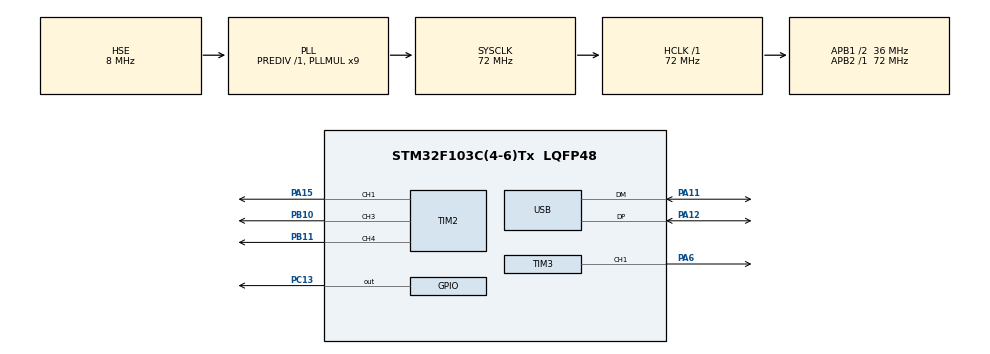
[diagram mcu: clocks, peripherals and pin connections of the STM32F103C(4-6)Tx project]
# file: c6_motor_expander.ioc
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Mcu.Family=STM32F1
Mcu.Name=STM32F103C(4-6)Tx
Mcu.Package=LQFP48
NVIC.PriorityGroup=NVIC_PRIORITYGROUP_4
NVIC.USB_LP_CAN1_RX0_IRQn=true\:0\:0\:false\:false\:true\:false\:true\:true
PA11.Mode=Device
PA11.Signal=USB_DM
PA12.Mode=Device
PA12.Signal=USB_DP
PA15.Signal=S_TIM2_CH1_ETR
PA6.Signal=S_TIM3_CH1
PB10.Signal=S_TIM2_CH3
PB11.Signal=S_TIM2_CH4
PC13-TAMPER-RTC.Signal=GPIO_Output
PC14-OSC32_IN.Mode=LSE-External-Oscillator
PC14-OSC32_IN.Signal=RCC_OSC32_IN
PC15-OSC32_OUT.Mode=LSE-External-Oscillator
PC15-OSC32_OUT.Signal=RCC_OSC32_OUT
PD0-OSC_IN.Mode=HSE-External-Oscillator
PD0-OSC_IN.Signal=RCC_OSC_IN
PD1-OSC_OUT.Mode=HSE-External-Oscillator
PD1-OSC_OUT.Signal=RCC_OSC_OUT
ProjectManager.HeapSize=0x200
ProjectManager.StackSize=0x400
ProjectManager.TargetToolchain=Makefile
RCC.AHBFreq_Value=72000000
RCC.APB1CLKDivider=RCC_HCLK_DIV2
RCC.APB1Freq_Value=36000000
RCC.APB1TimFreq_Value=72000000
RCC.APB2Freq_Value=72000000
RCC.APB2TimFreq_Value=72000000
RCC.HCLKFreq_Value=72000000
RCC.PLLMUL=RCC_PLL_MUL9
RCC.PLLSourceVirtual=RCC_PLLSOURCE_HSE
RCC.SYSCLKFreq_VALUE=72000000
RCC.SYSCLKSource=RCC_SYSCLKSOURCE_PLLCLK
RCC.USBFreq_Value=48000000
RCC.USBPrescaler=RCC_USBCLKSOURCE_PLL_DIV1_5
SH.S_TIM2_CH1_ETR.0=TIM2_CH1,PWM Generation1 CH1
SH.S_TIM2_CH3.0=TIM2_CH3,PWM Generation3 CH3
SH.S_TIM2_CH4.0=TIM2_CH4,PWM Generation4 CH4
SH.S_TIM3_CH1.0=TIM3_CH1,PWM Generation1 CH1
TIM2.AutoReloadPreload=TIM_AUTORELOAD_PRELOAD_ENABLE
TIM2.Channel-PWM\ Generation1\ CH1=TIM_CHANNEL_1
TIM2.Channel-PWM\ Generation3\ CH3=TIM_CHANNEL_3
TIM2.Channel-PWM\ Generation4\ CH4=TIM_CHANNEL_4
TIM3.AutoReloadPreload=TIM_AUTORELOAD_PRELOAD_ENABLE
TIM3.Channel-PWM\ Generation1\ CH1=TIM_CHANNEL_1
USB_DEVICE.CLASS_NAME_FS=CDC
USB_DEVICE.VirtualMode=Cdc
USB_DEVICE.VirtualModeFS=Cdc_FS
VP_SYS_VS_ND.Mode=No_Debug
VP_TIM2_VS_ClockSourceINT.Mode=Internal
VP_TIM3_VS_ClockSourceINT.Mode=Internal
VP_USB_DEVICE_VS_USB_DEVICE_CDC_FS.Mode=CDC_FS
board=custom

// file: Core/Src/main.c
/* USER CODE BEGIN Header */
/**
  ******************************************************************************
  * @file           : main.c
  * @brief          : Main program body
  ******************************************************************************
  * @attention
  *
  * Copyright (c) 2024 STMicroelectronics.
  * All rights reserved.
  *
  * This software is licensed under terms that can be found in the LICENSE file
  * in the root directory of this software component.
  * If no LICENSE file comes with this software, it is provided AS-IS.
  *
  ******************************************************************************
  */
/* USER CODE END Header */
#include "main.h"
#include "usb_device.h"

/* USER CODE BEGIN Includes */
#include "usbd_cdc_if.h"

#include "motor_action.h"
#include "remote.h"
#include <string.h>

/* USER CODE END Includes */

TIM_HandleTypeDef htim2;
TIM_HandleTypeDef htim3;

/* USER CODE BEGIN PV */

struct motor_action_t motor;
static struct UART_Descr uart;
static char msg[150] = {'\0'};

/* USER CODE END PV */

void SystemClock_Config(void);
static void MX_GPIO_Init(void);
static void MX_TIM2_Init(void);
static void MX_TIM3_Init(void);

/* USER CODE BEGIN 0 */
static void cmd_to_motor(enum motor_side_t side, uint16_t torque, uint8_t action)
{
  enum motor_state_t maction;
  switch (action)
  {
    case 0:
    maction = FORWARD;
    break;

    case 1:
    maction = BACKWARD;
    break;

    case 2:
    maction = IDLE;
    break;

    default:
    maction = BRAKE;
    break;
  }
  apply_action_to_motor(&motor, side, maction, torque);
}

static void usb_command_received(uint8_t cmd, const void *buf, size_t sz)
{
  switch (cmd)
  {
  case CMD_MOTOR_PWM:
  {
    const size_t u16sz = sizeof(uint16_t);
    const size_t u8sz = sizeof(uint8_t);
    if (sz >= 2 * (u16sz + u8sz))
    {
      uint16_t m0;
      uint8_t m0cmd;
      uint16_t m1;
      uint8_t m1cmd;
      size_t ptr = 0;
      memcpy(&m0, buf + ptr, u16sz);
      ptr += u16sz;
      memcpy(&m0cmd, buf + ptr, u8sz);
      ptr += u8sz;
      memcpy(&m1, buf + ptr, u16sz);
      ptr += u16sz;
      memcpy(&m1cmd, buf + ptr, u8sz);
      strcpy(msg, "ok");
      CDC_Transmit_FS((uint8_t *)msg, strlen(msg));

      cmd_to_motor(MLEFT, m0, m0cmd);
      cmd_to_motor(MRIGHT, m1, m1cmd);
    }
    else
    {
      snprintf(msg, sizeof(msg), "wrong size: %ld\r", (long)sz);
      CDC_Transmit_FS((uint8_t *)msg, strlen(msg));
    }
  }
  break;
  }
}

void ext_receive_usb(uint8_t *buf, uint32_t len)
{
  uart_over_usb_data_received_handler(&uart, buf, len);
}

static void send_data_over_UART(uint32_t data)
{
  if (data <= CUSTOM_PING)
  {
    uint16_t tor;
    if (data == CUSTOM_PING) {
      tor = 65535 - 100;
    } else {
      tor = 0;
    }
    cmd_to_motor(MLEFT, tor, tor > 0 ? 0 : 2);
    cmd_to_motor(MRIGHT, tor, tor > 0 ? 0 : 2);
    HAL_GPIO_TogglePin(GPIOC, GPIO_PIN_13);
    snprintf(msg, sizeof(msg), "%ld\r", (long)data);
    CDC_Transmit_FS((uint8_t *)msg, sizeof(msg));
  }
  else
  {
    snprintf(msg, sizeof(msg),"unknown sub-command %ld\r", (long)data);
    CDC_Transmit_FS((uint8_t *)msg, sizeof(msg));
  }
}

/* USER CODE END 0 */

int main(void)
{

  /* MCU Configuration--------------------------------------------------------*/

  /* Reset of all peripherals, Initializes the Flash interface and the Systick. */
  HAL_Init();

  /* Configure the system clock */
  SystemClock_Config();

  /* Initialize all configured peripherals */
  MX_GPIO_Init();
  MX_TIM2_Init();
  MX_TIM3_Init();
  MX_USB_DEVICE_Init();
  /* USER CODE BEGIN 2 */

  HAL_TIM_PWM_Start(&htim2, TIM_CHANNEL_1);
  HAL_TIM_PWM_Start(&htim2, TIM_CHANNEL_3);
  HAL_TIM_PWM_Start(&htim2, TIM_CHANNEL_4);
  HAL_TIM_PWM_Start(&htim3, TIM_CHANNEL_1);

  // initialize two motors
  init_motor_action(&motor,
                    &(TIM2->CCR3),
                    &(TIM2->CCR4),
                    &(TIM2->CCR1),
                    &(TIM3->CCR1));

  // for UART over USB we do not have any huart pointer or use any buffer
  init_communication_uart(&uart, NULL, 0);
  install_custom_callback(&uart, &send_data_over_UART);
  uart.void_cmd_p_ptr = &usb_command_received;

  /* USER CODE END 2 */

  /* Infinite loop */
  while (1)
  {

  }
}

void SystemClock_Config(void)
{
  RCC_OscInitTypeDef RCC_OscInitStruct = {0};
  RCC_ClkInitTypeDef RCC_ClkInitStruct = {0};
  RCC_PeriphCLKInitTypeDef PeriphClkInit = {0};

  /** Initializes the RCC Oscillators according to the specified parameters
  * in the RCC_OscInitTypeDef structure.
  */
  RCC_OscInitStruct.OscillatorType = RCC_OSCILLATORTYPE_HSE;
  RCC_OscInitStruct.HSEState = RCC_HSE_ON;
  RCC_OscInitStruct.HSEPredivValue = RCC_HSE_PREDIV_DIV1;
  RCC_OscInitStruct.HSIState = RCC_HSI_ON;
  RCC_OscInitStruct.PLL.PLLState = RCC_PLL_ON;
  RCC_OscInitStruct.PLL.PLLSource = RCC_PLLSOURCE_HSE;
  RCC_OscInitStruct.PLL.PLLMUL = RCC_PLL_MUL9;
  if (HAL_RCC_OscConfig(&RCC_OscInitStruct) != HAL_OK)
  {
    Error_Handler();
  }

  /** Initializes the CPU, AHB and APB buses clocks
  */
  RCC_ClkInitStruct.ClockType = RCC_CLOCKTYPE_HCLK|RCC_CLOCKTYPE_SYSCLK
                              |RCC_CLOCKTYPE_PCLK1|RCC_CLOCKTYPE_PCLK2;
  RCC_ClkInitStruct.SYSCLKSource = RCC_SYSCLKSOURCE_PLLCLK;
  RCC_ClkInitStruct.AHBCLKDivider = RCC_SYSCLK_DIV1;
  RCC_ClkInitStruct.APB1CLKDivider = RCC_HCLK_DIV2;
  RCC_ClkInitStruct.APB2CLKDivider = RCC_HCLK_DIV1;

  if (HAL_RCC_ClockConfig(&RCC_ClkInitStruct, FLASH_LATENCY_2) != HAL_OK)
  {
    Error_Handler();
  }
  PeriphClkInit.PeriphClockSelection = RCC_PERIPHCLK_USB;
  PeriphClkInit.UsbClockSelection = RCC_USBCLKSOURCE_PLL_DIV1_5;
  if (HAL_RCCEx_PeriphCLKConfig(&PeriphClkInit) != HAL_OK)
  {
    Error_Handler();
  }
}

static void MX_TIM2_Init(void)
{

  TIM_ClockConfigTypeDef sClockSourceConfig = {0};
  TIM_MasterConfigTypeDef sMasterConfig = {0};
  TIM_OC_InitTypeDef sConfigOC = {0};

  htim2.Instance = TIM2;
  htim2.Init.Prescaler = 0;
  htim2.Init.CounterMode = TIM_COUNTERMODE_UP;
  htim2.Init.Period = 65535;
  htim2.Init.ClockDivision = TIM_CLOCKDIVISION_DIV1;
  htim2.Init.AutoReloadPreload = TIM_AUTORELOAD_PRELOAD_ENABLE;
  if (HAL_TIM_Base_Init(&htim2) != HAL_OK)
  {
    Error_Handler();
  }
  sClockSourceConfig.ClockSource = TIM_CLOCKSOURCE_INTERNAL;
  if (HAL_TIM_ConfigClockSource(&htim2, &sClockSourceConfig) != HAL_OK)
  {
    Error_Handler();
  }
  if (HAL_TIM_PWM_Init(&htim2) != HAL_OK)
  {
    Error_Handler();
  }
  sMasterConfig.MasterOutputTrigger = TIM_TRGO_RESET;
  sMasterConfig.MasterSlaveMode = TIM_MASTERSLAVEMODE_DISABLE;
  if (HAL_TIMEx_MasterConfigSynchronization(&htim2, &sMasterConfig) != HAL_OK)
  {
    Error_Handler();
  }
  sConfigOC.OCMode = TIM_OCMODE_PWM1;
  sConfigOC.Pulse = 0;
  sConfigOC.OCPolarity = TIM_OCPOLARITY_HIGH;
  sConfigOC.OCFastMode = TIM_OCFAST_DISABLE;
  if (HAL_TIM_PWM_ConfigChannel(&htim2, &sConfigOC, TIM_CHANNEL_1) != HAL_OK)
  {
    Error_Handler();
  }
  if (HAL_TIM_PWM_ConfigChannel(&htim2, &sConfigOC, TIM_CHANNEL_3) != HAL_OK)
  {
    Error_Handler();
  }
  if (HAL_TIM_PWM_ConfigChannel(&htim2, &sConfigOC, TIM_CHANNEL_4) != HAL_OK)
  {
    Error_Handler();
  }
  HAL_TIM_MspPostInit(&htim2);

}

static void MX_TIM3_Init(void)
{

  TIM_ClockConfigTypeDef sClockSourceConfig = {0};
  TIM_MasterConfigTypeDef sMasterConfig = {0};
  TIM_OC_InitTypeDef sConfigOC = {0};

  htim3.Instance = TIM3;
  htim3.Init.Prescaler = 0;
  htim3.Init.CounterMode = TIM_COUNTERMODE_UP;
  htim3.Init.Period = 65535;
  htim3.Init.ClockDivision = TIM_CLOCKDIVISION_DIV1;
  htim3.Init.AutoReloadPreload = TIM_AUTORELOAD_PRELOAD_ENABLE;
  if (HAL_TIM_Base_Init(&htim3) != HAL_OK)
  {
    Error_Handler();
  }
  sClockSourceConfig.ClockSource = TIM_CLOCKSOURCE_INTERNAL;
  if (HAL_TIM_ConfigClockSource(&htim3, &sClockSourceConfig) != HAL_OK)
  {
    Error_Handler();
  }
  if (HAL_TIM_PWM_Init(&htim3) != HAL_OK)
  {
    Error_Handler();
  }
  sMasterConfig.MasterOutputTrigger = TIM_TRGO_RESET;
  sMasterConfig.MasterSlaveMode = TIM_MASTERSLAVEMODE_DISABLE;
  if (HAL_TIMEx_MasterConfigSynchronization(&htim3, &sMasterConfig) != HAL_OK)
  {
    Error_Handler();
  }
  sConfigOC.OCMode = TIM_OCMODE_PWM1;
  sConfigOC.Pulse = 0;
  sConfigOC.OCPolarity = TIM_OCPOLARITY_HIGH;
  sConfigOC.OCFastMode = TIM_OCFAST_DISABLE;
  if (HAL_TIM_PWM_ConfigChannel(&htim3, &sConfigOC, TIM_CHANNEL_1) != HAL_OK)
  {
    Error_Handler();
  }
  HAL_TIM_MspPostInit(&htim3);

}

static void MX_GPIO_Init(void)
{
  GPIO_InitTypeDef GPIO_InitStruct = {0};

  /* GPIO Ports Clock Enable */
  __HAL_RCC_GPIOC_CLK_ENABLE();
  __HAL_RCC_GPIOD_CLK_ENABLE();
  __HAL_RCC_GPIOA_CLK_ENABLE();
  __HAL_RCC_GPIOB_CLK_ENABLE();

  /*Configure GPIO pin Output Level */
  HAL_GPIO_WritePin(GPIOC, GPIO_PIN_13, GPIO_PIN_RESET);

  /*Configure GPIO pin : PC13 */
  GPIO_InitStruct.Pin = GPIO_PIN_13;
  GPIO_InitStruct.Mode = GPIO_MODE_OUTPUT_PP;
  GPIO_InitStruct.Pull = GPIO_NOPULL;
  GPIO_InitStruct.Speed = GPIO_SPEED_FREQ_LOW;
  HAL_GPIO_Init(GPIOC, &GPIO_InitStruct);

}

void Error_Handler(void)
{
  __disable_irq();
  while (1)
  {
  }
}
